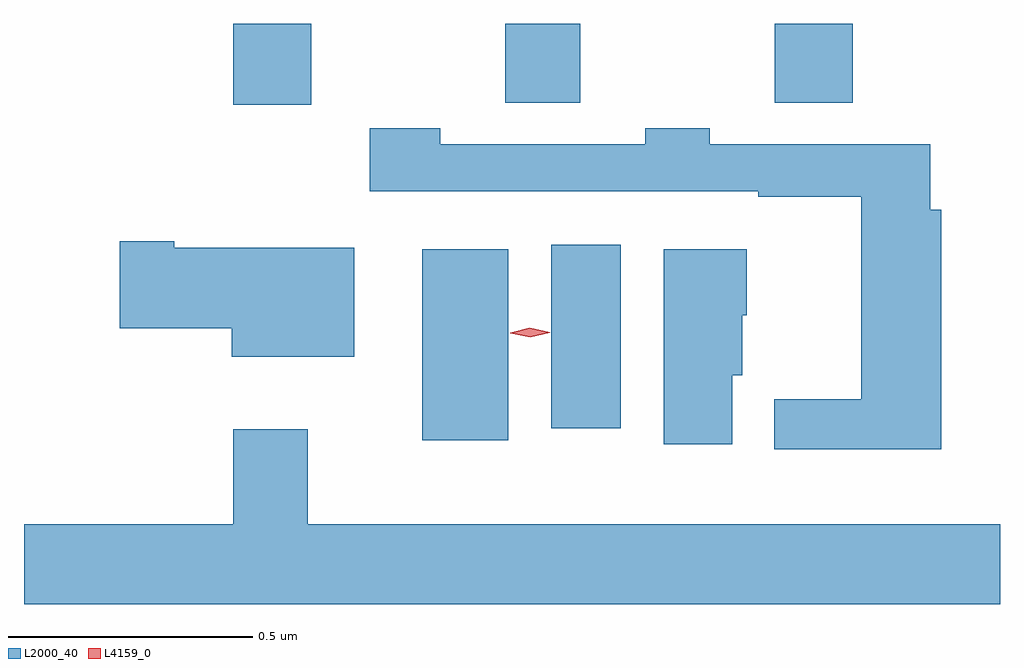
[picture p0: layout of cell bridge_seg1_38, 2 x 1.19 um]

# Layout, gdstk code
import gdstk
lib = gdstk.Library(unit=1e-6, precision=1e-09)
def R(c, l, rs):  # rectangles x0, y0, x1, y1
    for r in rs: c.add(gdstk.rectangle(r[:2], r[2:], *l))
def P(c, l, *ps):  # polygons
    for p in ps: c.add(gdstk.Polygon(p, *l))
L2000_40 = (2000, 40)
L4159_0 = (4159, 0)

bridge_seg1_38 = lib.new_cell('bridge_seg1_38')
R(bridge_seg1_38, L2000_40, [(976.496,574.712,976.672,575.104), (976.76,574.737,976.903,575.113), (976.109,575.4,976.269,575.566), (976.666,575.404,976.82,575.566), (977.218,575.404,977.378,575.566)])
P(bridge_seg1_38, L2000_40, [(977.56,575.185),(977.537,575.185),(977.537,575.319),(977.085,575.319),(977.085,575.352),(976.953,575.352),(976.953,575.319),(976.533,575.319),(976.533,575.352),(976.389,575.352),(976.389,575.223),(977.185,575.223),(977.185,575.211),(977.396,575.211),(977.396,574.796),(977.217,574.796),(977.217,574.694),(977.56,574.694)],
  [(976.357,575.107),(975.988,575.107),(975.988,575.12),(975.876,575.12),(975.876,574.942),(976.106,574.942),(976.106,574.883),(976.357,574.883)],
  [(977.131,574.845),(977.152,574.845),(977.152,574.968),(977.161,574.968),(977.161,575.104),(976.991,575.104),(976.991,574.704),(977.131,574.704)],
  [(977.68,574.54),(976.261,574.54),(976.261,574.735),(976.109,574.735),(976.109,574.54),(975.68,574.54),(975.68,574.376),(977.68,574.376)])
P(bridge_seg1_38, L4159_0, [(976.717,574.923),(976.676,574.932),(976.676,574.932),(976.676,574.933),(976.716,574.943),(976.757,574.934),(976.757,574.933),(976.757,574.933)])

lib.write_gds('bridge_seg1_38.gds')
